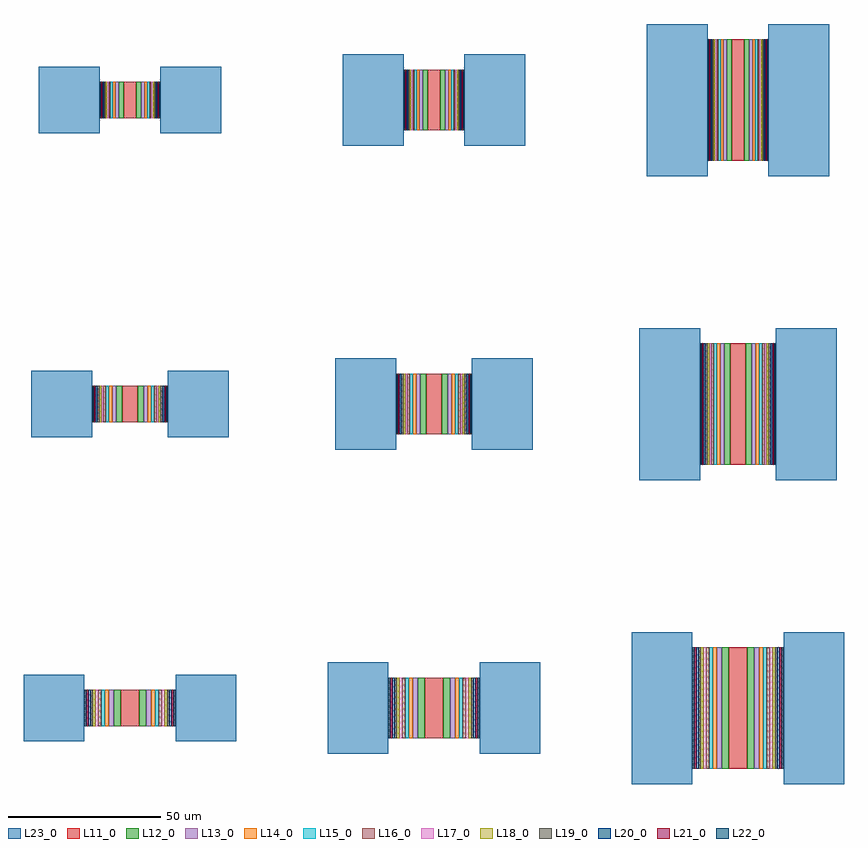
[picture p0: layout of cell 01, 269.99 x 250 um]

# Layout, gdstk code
import gdstk
lib = gdstk.Library(unit=1e-6, precision=1e-09)
def R(c, l, rs):  # rectangles x0, y0, x1, y1
    for r in rs: c.add(gdstk.rectangle(r[:2], r[2:], *l))
L11_0 = (11, 0)
L12_0 = (12, 0)
L13_0 = (13, 0)
L14_0 = (14, 0)
L15_0 = (15, 0)
L16_0 = (16, 0)
L17_0 = (17, 0)
L18_0 = (18, 0)
L19_0 = (19, 0)
L20_0 = (20, 0)
L21_0 = (21, 0)
L22_0 = (22, 0)
L23_0 = (23, 0)

c_01 = lib.new_cell('01')
R(c_01, L11_0, [(197.033,-20,202.967,20), (97.033,-10,102.967,10), (-2.967,-6,2.967,6), (197.505,80,202.495,120), (97.505,90,102.495,110), (-2.495,94,2.495,106), (197.971,180,202.029,220), (97.971,190,102.029,210), (-2.029,194,2.029,206)])
R(c_01, L12_0, [(194.593,-20,197.033,20), (202.967,-20,205.407,20), (94.593,-10,97.033,10), (102.967,-10,105.407,10), (-5.407,-6,-2.967,6), (2.967,-6,5.407,6), (195.457,80,197.505,120), (202.495,80,204.543,120), (95.457,90,97.505,110), (102.495,90,104.543,110), (-4.543,94,-2.495,106), (2.495,94,4.543,106), (196.311,180,197.971,220), (202.029,180,203.689,220), (96.311,190,97.971,210), (102.029,190,103.689,210), (-3.689,194,-2.029,206), (2.029,194,3.689,206)])
R(c_01, L13_0, [(192.964,-20,194.593,20), (205.407,-20,207.036,20), (92.964,-10,94.593,10), (105.407,-10,107.036,10), (-7.036,-6,-5.407,6), (5.407,-6,7.036,6), (194.093,80,195.457,120), (204.543,80,205.907,120), (94.093,90,95.457,110), (104.543,90,105.907,110), (-5.907,94,-4.543,106), (4.543,94,5.907,106), (195.21,180,196.311,220), (203.689,180,204.79,220), (95.21,190,96.311,210), (103.689,190,104.79,210), (-4.79,194,-3.689,206), (3.689,194,4.79,206)])
R(c_01, L14_0, [(191.656,-20,192.964,20), (207.036,-20,208.344,20), (91.656,-10,92.964,10), (107.036,-10,108.344,10), (-8.344,-6,-7.036,6), (7.036,-6,8.344,6), (193.001,80,194.093,120), (205.907,80,206.999,120), (93.001,90,94.093,110), (105.907,90,106.999,110), (-6.999,94,-5.907,106), (5.907,94,6.999,106), (194.332,180,195.21,220), (204.79,180,205.668,220), (94.332,190,95.21,210), (104.79,190,105.668,210), (-5.668,194,-4.79,206), (4.79,194,5.668,206)])
R(c_01, L15_0, [(190.536,-20,191.656,20), (208.344,-20,209.464,20), (90.536,-10,91.656,10), (108.344,-10,109.464,10), (-9.464,-6,-8.344,6), (8.344,-6,9.464,6), (192.067,80,193.001,120), (206.999,80,207.933,120), (92.067,90,93.001,110), (106.999,90,107.933,110), (-7.933,94,-6.999,106), (6.999,94,7.933,106), (193.585,180,194.332,220), (205.668,180,206.415,220), (93.585,190,94.332,210), (105.668,190,106.415,210), (-6.415,194,-5.668,206), (5.668,194,6.415,206)])
R(c_01, L16_0, [(189.542,-20,190.536,20), (209.464,-20,210.458,20), (89.542,-10,90.536,10), (109.464,-10,110.458,10), (-10.458,-6,-9.464,6), (9.464,-6,10.458,6), (191.241,80,192.067,120), (207.933,80,208.759,120), (91.241,90,92.067,110), (107.933,90,108.759,110), (-8.759,94,-7.933,106), (7.933,94,8.759,106), (192.928,180,193.585,220), (206.415,180,207.072,220), (92.928,190,93.585,210), (106.415,190,107.072,210), (-7.072,194,-6.415,206), (6.415,194,7.072,206)])
R(c_01, L17_0, [(188.642,-20,189.542,20), (210.458,-20,211.358,20), (88.642,-10,89.542,10), (110.458,-10,111.358,10), (-11.358,-6,-10.458,6), (10.458,-6,11.358,6), (190.495,80,191.241,120), (208.759,80,209.505,120), (90.495,90,91.241,110), (108.759,90,109.505,110), (-9.505,94,-8.759,106), (8.759,94,9.505,106), (192.337,180,192.928,220), (207.072,180,207.663,220), (92.337,190,92.928,210), (107.072,190,107.663,210), (-7.663,194,-7.072,206), (7.072,194,7.663,206)])
R(c_01, L18_0, [(187.815,-20,188.642,20), (211.358,-20,212.185,20), (87.815,-10,88.642,10), (111.358,-10,112.185,10), (-12.185,-6,-11.358,6), (11.358,-6,12.185,6), (189.811,80,190.495,120), (209.505,80,210.189,120), (89.811,90,90.495,110), (109.505,90,110.189,110), (-10.189,94,-9.505,106), (9.505,94,10.189,106), (191.798,180,192.337,220), (207.663,180,208.202,220), (91.798,190,92.337,210), (107.663,190,108.202,210), (-8.202,194,-7.663,206), (7.663,194,8.202,206)])
R(c_01, L19_0, [(187.046,-20,187.815,20), (212.185,-20,212.954,20), (87.046,-10,87.815,10), (112.185,-10,112.954,10), (-12.954,-6,-12.185,6), (12.185,-6,12.954,6), (189.178,80,189.811,120), (210.189,80,210.822,120), (89.178,90,89.811,110), (110.189,90,110.822,110), (-10.822,94,-10.189,106), (10.189,94,10.822,106), (191.302,180,191.798,220), (208.202,180,208.698,220), (91.302,190,91.798,210), (108.202,190,108.698,210), (-8.698,194,-8.202,206), (8.202,194,8.698,206)])
R(c_01, L20_0, [(186.326,-20,187.046,20), (212.954,-20,213.674,20), (86.326,-10,87.046,10), (112.954,-10,113.674,10), (-13.674,-6,-12.954,6), (12.954,-6,13.674,6), (188.587,80,189.178,120), (210.822,80,211.413,120), (88.587,90,89.178,110), (110.822,90,111.413,110), (-11.413,94,-10.822,106), (10.822,94,11.413,106), (190.841,180,191.302,220), (208.698,180,209.159,220), (90.841,190,91.302,210), (108.698,190,109.159,210), (-9.159,194,-8.698,206), (8.698,194,9.159,206)])
R(c_01, L21_0, [(185.648,-20,186.326,20), (213.674,-20,214.352,20), (85.648,-10,86.326,10), (113.674,-10,114.352,10), (-14.352,-6,-13.674,6), (13.674,-6,14.352,6), (188.031,80,188.587,120), (211.413,80,211.969,120), (88.031,90,88.587,110), (111.413,90,111.969,110), (-11.969,94,-11.413,106), (11.413,94,11.969,106), (190.41,180,190.841,220), (209.159,180,209.59,220), (90.41,190,90.841,210), (109.159,190,109.59,210), (-9.59,194,-9.159,206), (9.159,194,9.59,206)])
R(c_01, L22_0, [(185.006,-20,185.648,20), (214.352,-20,214.994,20), (85.006,-10,85.648,10), (114.352,-10,114.994,10), (-14.994,-6,-14.352,6), (14.352,-6,14.994,6), (187.506,80,188.031,120), (211.969,80,212.494,120), (87.506,90,88.031,110), (111.969,90,112.494,110), (-12.494,94,-11.969,106), (11.969,94,12.494,106), (190.006,180,190.41,220), (209.59,180,209.994,220), (90.006,190,90.41,210), (109.59,190,109.994,210), (-9.994,194,-9.59,206), (9.59,194,9.994,206)])
R(c_01, L23_0, [(165.006,-25,185.006,25), (214.994,-25,234.994,25), (65.006,-15,85.006,15), (114.994,-15,134.994,15), (-34.994,-11,-14.994,11), (14.994,-11,34.994,11), (167.506,75,187.506,125), (212.494,75,232.494,125), (67.506,85,87.506,115), (112.494,85,132.494,115), (-32.494,89,-12.494,111), (12.494,89,32.494,111), (170.006,175,190.006,225), (209.994,175,229.994,225), (70.006,185,90.006,215), (109.994,185,129.994,215), (-29.994,189,-9.994,211), (9.994,189,29.994,211)])

lib.write_gds('01.gds')
